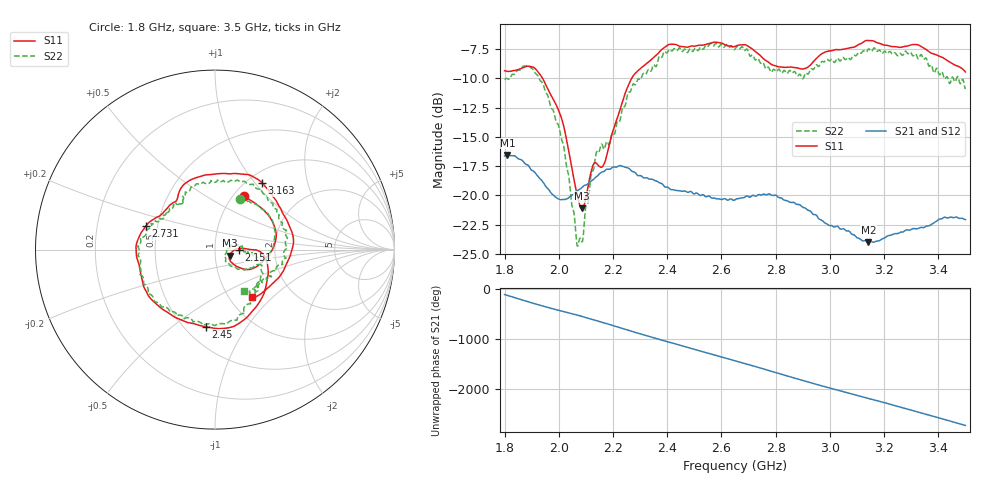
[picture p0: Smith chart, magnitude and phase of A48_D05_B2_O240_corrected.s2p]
! Created with skrf 1.9.0 (http://scikit-rf.org).
# Hz S RI R 50.0
!freq ReS11 ImS11 ReS21 ImS21 ReS12 ImS12 ReS22 ImS22
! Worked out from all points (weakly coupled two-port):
!   1601 points, 1.8 GHz to 3.5 GHz, reference 50 ohm
!   highest |S21| = -16.56 dB at 1.811 GHz (marker M1); lowest = -24.0 dB at 3.142 GHz (marker M2)
!   lowest |S11| = -21.1 dB at 2.085 GHz (marker M3), VSWR 1.19, Z = 58.7 - j4.07 ohm
!   |S11| at or under -10 dB: 1.94 GHz to 2.269 GHz (329.2 MHz wide, 15.6 % of centre)
!   |S22| runs from -24.3 to -7.0 dB; largest |S21 - S12| = 0.0024
!   S11 on the Smith chart (normalised r, x): 1.8 GHz: 1.11, +0.76; 2.151 GHz: 1.31, -0.01; 2.45 GHz: 0.63, -0.66; 2.731 GHz: 0.43, +0.14; 3.163 GHz: 1.16, +1.09; 3.5 GHz: 1.26, -0.76
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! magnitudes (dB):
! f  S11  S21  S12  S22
! 1.8 GHz  -9.4  -16.6  -16.6  -10.1
! 1.811 GHz  -9.4  -16.6  -16.6  -10.0
! 1.883 GHz  -9.0  -17.4  -17.4  -8.9
! 1.941 GHz  -10.1  -18.9  -18.8  -10.5
! 2.011 GHz  -13.5  -20.4  -20.3  -15.3
! 2.066 GHz  -19.8  -19.7  -19.6  -24.0
! 2.084 GHz  -21.1  -19.4  -19.3  -23.9
! 2.085 GHz  -21.1  -19.4  -19.3  -24.0
! 2.126 GHz  -17.4  -18.7  -18.7  -17.9
! 2.151 GHz  -17.5  -18.1  -18.2  -16.1
! 2.19 GHz  -15.3  -17.7  -17.8  -15.4
! 2.265 GHz  -10.2  -17.8  -17.8  -11.1
! 2.367 GHz  -7.8  -18.9  -18.8  -8.3
! 2.45 GHz  -7.3  -19.6  -19.6  -7.6
! 2.65 GHz  -7.3  -20.4  -20.3  -7.5
! 2.731 GHz  -7.8  -20.0  -20.0  -8.3
! 2.934 GHz  -8.7  -21.5  -21.5  -9.2
! 3.142 GHz  -6.8  -24.0  -23.9  -7.5
! 3.163 GHz  -6.8  -24.0  -23.9  -7.4
! 3.217 GHz  -7.2  -23.4  -23.4  -7.8
! 3.34 GHz  -7.3  -22.7  -22.7  -8.1
! 3.5 GHz  -9.5  -22.1  -22.0  -10.9
